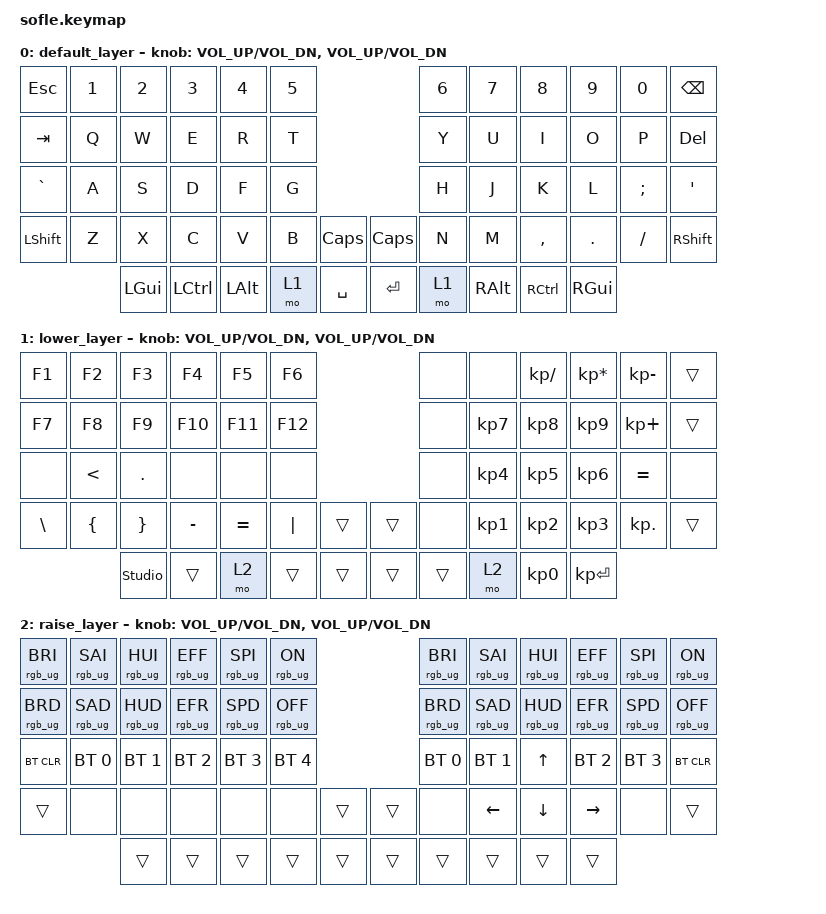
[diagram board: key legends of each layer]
/*
 * Copyright (c) 2020 The ZMK Contributors
 *
 * SPDX-License-Identifier: MIT
 */

#include <behaviors.dtsi>
#include <dt-bindings/zmk/keys.h>
#include <dt-bindings/zmk/bt.h>
#include <dt-bindings/zmk/rgb.h>
#include <dt-bindings/zmk/ext_power.h>
#include <dt-bindings/zmk/outputs.h>


/ {
    keymap {
        compatible = "zmk,keymap";

        default_layer {
// ------------------------------------------------------------------------------------------------------------
// |  ESC  |  1  |  2  |  3   |  4   |  5   |                   |  6   |  7    |  8    |  9   |   0   | BKSPC |
// |  TAB  |  Q  |  W  |  E   |  R   |  T   |                   |  Y   |  U    |  I    |  O   |   P   | DEL   |
// |  `    |  A  |  S  |  D   |  F   |  G   |                   |  H   |  J    |  K    |  L   |   ;   |   '   |
// | SHIFT |  Z  |  X  |  C   |  V   |  B   |  CAPS  |  | CAPS  |  N   |  M    |  ,    |  .   |   /   | SHIFT |
//               | GUI | CTRL  | ALT | LOWER|  ENTER |  | SPACE | RAISE| ALT  | CTRL   | GUI  |
            bindings = <
&kp ESC   &kp N1 &kp N2   &kp N3   &kp N4    &kp N5                      &kp N6 &kp N7    &kp N8    &kp N9   &kp N0   &kp BSPC
&kp TAB   &kp Q  &kp W    &kp E    &kp R     &kp T                       &kp Y  &kp U     &kp I     &kp O    &kp P    &kp DEL
&kp GRAVE &kp A  &kp S    &kp D    &kp F     &kp G                       &kp H  &kp J     &kp K     &kp L    &kp SEMI &kp SQT
&kp LSHFT &kp Z  &kp X    &kp C    &kp V     &kp B  &kp CLCK   &kp CLCK  &kp N  &kp M     &kp COMMA &kp DOT  &kp FSLH &kp RSHFT
                 &kp LGUI &kp LCTRL &kp LALT &mo 1  &kp SPACE    &kp RET &mo 1  &kp RALT  &kp RCTRL &kp RGUI
            >;

            sensor-bindings = <&inc_dec_kp C_VOL_UP C_VOL_DN &inc_dec_kp C_VOL_UP C_VOL_DN>;

        };

        lower_layer {
// TODO: Some binds are waiting for shifted keycode support.
// ------------------------------------------------------------------------------------------------------------
// | F1    |  F2 |  F3 |  F4  |  F5  |  F6  |                   |      |       |   /   |   *   |   -   |       |
// | F7    |  F8 |  F9 |  F10 |  F11 |  F12 |                   |      |   7   |   8   |   9   |   +   |       |
// |       |  <  |  >  |      |      |      |                   |      |   4   |   5   |   6   |   =   |       |
// | \     |  {  |  }  |  -   |   =  |  |   |        |  |       |      |   1   |   2   |   3   |   .   |       |
//               |     |      |      |      |        |  |       |      |       |   0   | ENTER |
            bindings = <
&kp F1    &kp F2         &kp F3           &kp F4      &kp F5      &kp F6                     &none    &none     &kp KP_DIVIDE &kp KP_MULTIPLY &kp KP_MINUS  &trans
&kp F7    &kp F8         &kp F9           &kp F10     &kp F11     &kp F12                    &none    &kp KP_N7 &kp KP_N8     &kp KP_N9       &kp KP_PLUS   &trans
&none     &kp LESS_THAN  &kp PERIOD       &none       &none       &none                      &none    &kp KP_N4 &kp KP_N5     &kp KP_N6       &kp EQUAL     &none
&kp BSLH  &kp LBRC       &kp RBRC         &kp MINUS   &kp EQUAL   &kp PIPE  &trans    &trans &none    &kp KP_N1 &kp KP_N2     &kp KP_N3       &kp KP_DOT    &trans
                         &studio_unlock   &trans      &mo 2       &trans    &trans    &trans &trans   &mo 2     &kp KP_N0     &kp KP_ENTER
            >;

            sensor-bindings = <&inc_dec_kp C_VOL_UP C_VOL_DN &inc_dec_kp C_VOL_UP C_VOL_DN>;

        };

        raise_layer {
// ------------------------------------------------------------------------------------------------------------
// |BTCLR| BT1  | BT2  |  BT3  |  BT4  |  BT5 |                | RGB BRI+  | RGB SAT+  | RGB HUE+ | RGB ANI+  | RGB SPD+ | RGB TOG |
// |     | INS  | PSCR |  GUI  | SLCK  | PGUP |                | RGB BRI-  | RGB SAT-  | RGB HUE+ | RGB ANI-  | RGB SPD- |         |
// |BTCLR| END  | HOME |       | PAUSE | PGDN |                |           |           |   ^      |           |          | BTCLR   |
// |     |      |      |       |       |      |      |  |      |           |  <-       |   v      |  ->       |          |         |
//              |      |       |       |      |      |  |      |      |      |       |      |
            bindings = <
&rgb_ug RGB_BRI  &rgb_ug RGB_SAI  &rgb_ug RGB_HUI    &rgb_ug RGB_EFF    &rgb_ug RGB_SPI  &rgb_ug RGB_ON                    &rgb_ug RGB_BRI  &rgb_ug RGB_SAI  &rgb_ug RGB_HUI    &rgb_ug RGB_EFF    &rgb_ug RGB_SPI &rgb_ug RGB_ON
&rgb_ug RGB_BRD  &rgb_ug RGB_SAD  &rgb_ug RGB_HUD    &rgb_ug RGB_EFR    &rgb_ug RGB_SPD  &rgb_ug RGB_OFF                   &rgb_ug RGB_BRD  &rgb_ug RGB_SAD  &rgb_ug RGB_HUD    &rgb_ug RGB_EFR    &rgb_ug RGB_SPD &rgb_ug RGB_OFF
&bt BT_CLR       &bt BT_SEL 0     &bt BT_SEL 1       &bt BT_SEL 2       &bt BT_SEL 3     &bt BT_SEL 4                      &bt BT_SEL 0     &bt BT_SEL 1     &kp UP             &bt BT_SEL 2       &bt BT_SEL 3    &bt BT_CLR
&trans           &none            &none              &none              &none            &none           &trans   &trans   &none            &kp LEFT         &kp DOWN           &kp RIGHT          &none           &trans
                                  &trans             &trans             &trans           &trans          &trans   &trans   &trans           &trans           &trans             &trans
            >;

            sensor-bindings = <&inc_dec_kp C_VOL_UP C_VOL_DN &inc_dec_kp C_VOL_UP C_VOL_DN>;
            
        };
    };
};
